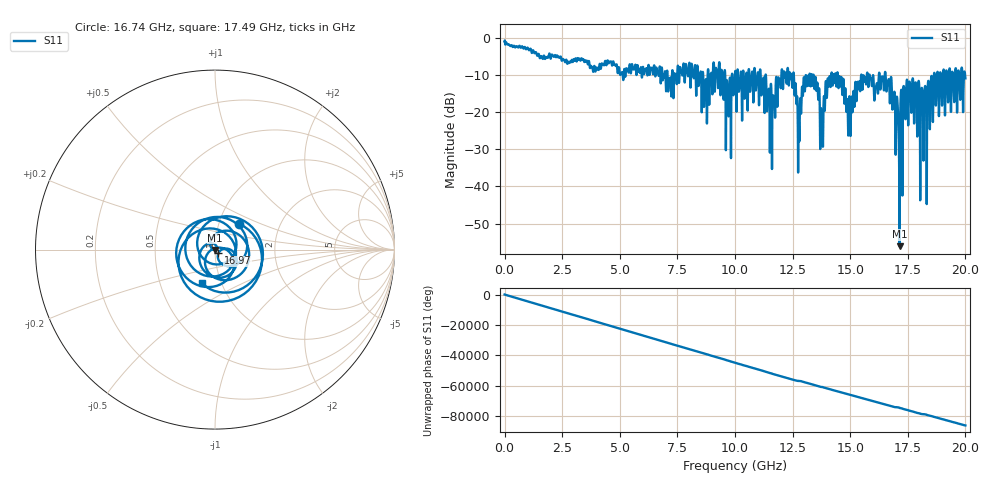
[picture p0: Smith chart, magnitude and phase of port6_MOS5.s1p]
! MS46122B
! 2250307/22442219
! 6/13/2025 8:48:10 AM
! C:\USERS\SPARKY\DOCUMENTS\VNA_DATA\JUNE13_2025\PORT6_MOS5.S1P
! CHANNEL.1
! TR.MEASUREMENT
! RAW.DATA
# GHZ S RI R 50.0
! FREQ.GHZ  S11RE  S11IM
!; PortSelection: Port_1
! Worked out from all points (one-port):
!   10001 points, 1 MHz to 20 GHz, reference 50 ohm
!   lowest |S11| = -56.1 dB at 17.14 GHz (marker M1), VSWR 1.00, Z = 50 - j0.154 ohm
!   |S11| at or under -10 dB: 13.41 GHz to 14.18 GHz (765.6 MHz wide, 5.55 % of centre); 14.46 GHz to 15.48 GHz (1.015 GHz wide, 6.78 % of centre); 16.54 GHz to 18.63 GHz (2.099 GHz wide, 11.9 % of centre) (the widest 3 of 74)
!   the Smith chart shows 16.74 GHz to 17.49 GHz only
!   S11 on the Smith chart (normalised r, x): 16.74 GHz: 1.25, +0.37; 16.97 GHz: 1.04, -0.04; 17.49 GHz: 0.81, -0.32
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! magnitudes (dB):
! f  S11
! 1 MHz  -1.0
! 2.501 GHz  -6.0
! 5.001 GHz  -9.6
! 7.501 GHz  -9.0
! 9.753 GHz  -14.1
! 10 GHz  -9.6
! 10.92 GHz  -12.7
! 11.59 GHz  -20.7
! 11.96 GHz  -11.6
! 12.5 GHz  -13.3
! 12.78 GHz  -24.4
! 12.99 GHz  -10.6
! 13.24 GHz  -9.7
! 13.57 GHz  -12.1
! 13.77 GHz  -25.5
! 14.02 GHz  -11.6
! 14.27 GHz  -9.8
! 15 GHz  -21.9
! 15.66 GHz  -10.8
! 16.74 GHz  -14.1
! 16.97 GHz  -31.0
! 17.06 GHz  -18.1
! 17.14 GHz  -56.1
! 17.49 GHz  -13.9
! 17.5 GHz  -16.8
! 18.11 GHz  -13.6
! 18.72 GHz  -18.2
! 20 GHz  -10.9
